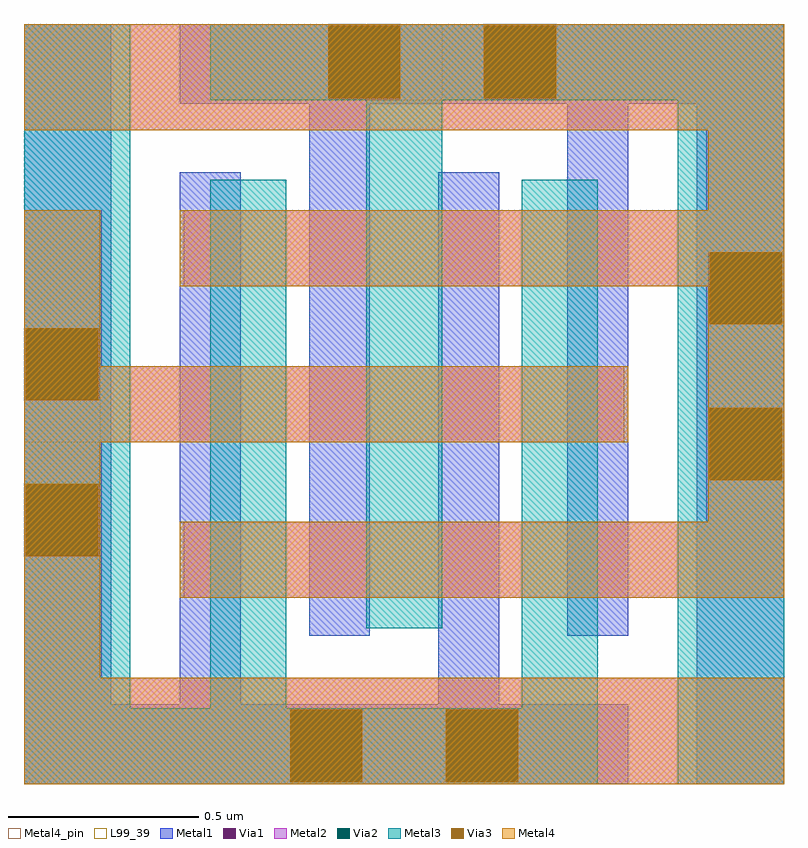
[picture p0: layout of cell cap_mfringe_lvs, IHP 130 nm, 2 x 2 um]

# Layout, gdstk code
import gdstk
lib = gdstk.Library(unit=1e-6, precision=1e-09)
def R(c, l, rs):  # rectangles x0, y0, x1, y1
    for r in rs: c.add(gdstk.rectangle(r[:2], r[2:], *l))
Metal1 = (8, 0)
Metal2 = (10, 0)
Via1 = (19, 0)
Via2 = (29, 0)
Metal3 = (30, 0)
Via3 = (49, 0)
Metal4 = (50, 0)
Metal4_pin = (50, 2)
L99_39 = (99, 39)

cap_mfringe_lvs = lib.new_cell('cap_mfringe_lvs')
R(cap_mfringe_lvs, Metal1, [(0,0,0.23,2), (0,0,1.59,0.21), (0.41,0,0.57,1.61), (1.09,0,1.25,1.61), (1.77,0,2,2), (0.75,0.39,0.91,2), (1.43,0.39,1.59,2), (0.41,1.79,2,2)])
R(cap_mfringe_lvs, Metal2, [(0,0,2,0.28), (0,0,0.205,1.51), (0.42,0.49,2,0.69), (1.795,0.49,2,2), (0,0.9,1.58,1.1), (0.42,1.31,2,1.51), (0,1.72,2,2)])
R(cap_mfringe_lvs, Via1, [(0.7,0.01,0.89,0.2), (1.11,0.01,1.3,0.2), (0.01,0.6,0.2,0.79), (1.8,0.8,1.99,0.99), (0.01,1.01,0.2,1.2), (1.8,1.21,1.99,1.4), (0.8,1.8,0.99,1.99), (1.21,1.8,1.4,1.99)])
R(cap_mfringe_lvs, Via2, [(0.7,0.005,0.89,0.195), (1.11,0.005,1.3,0.195), (0.005,0.6,0.195,0.79), (1.805,0.8,1.995,0.99), (0.005,1.01,0.195,1.2), (1.805,1.21,1.995,1.4), (0.8,1.805,0.99,1.995), (1.21,1.805,1.4,1.995)])
R(cap_mfringe_lvs, Metal3, [(0,0,0.28,2), (0,0,1.51,0.2), (0.49,0,0.69,1.59), (1.31,0,1.51,1.59), (1.72,0,2,2), (0.9,0.41,1.1,2), (0.49,1.8,2,2)])
R(cap_mfringe_lvs, Via3, [(0.7,0.005,0.89,0.195), (1.11,0.005,1.3,0.195), (0.005,0.6,0.195,0.79), (1.805,0.8,1.995,0.99), (0.005,1.01,0.195,1.2), (1.805,1.21,1.995,1.4), (0.8,1.805,0.99,1.995), (1.21,1.805,1.4,1.995)])
R(cap_mfringe_lvs, Metal4, [(0,0,2,0.28), (0,0,0.2,1.51), (0.41,0.49,2,0.69), (1.8,0.49,2,2), (0,0.9,1.59,1.1), (0.41,1.31,2,1.51), (0,1.72,2,2)])
R(cap_mfringe_lvs, Metal4_pin, [(0,0.9,0.2,1.1), (0.9,1.8,1.1,2)])
R(cap_mfringe_lvs, L99_39, [(0,0,2,2)])
cap_mfringe_lvs.add(gdstk.Label('cap_mfringe', (0,-0.5), layer=63, texttype=0))

lib.write_gds('cap_mfringe_lvs.gds')
